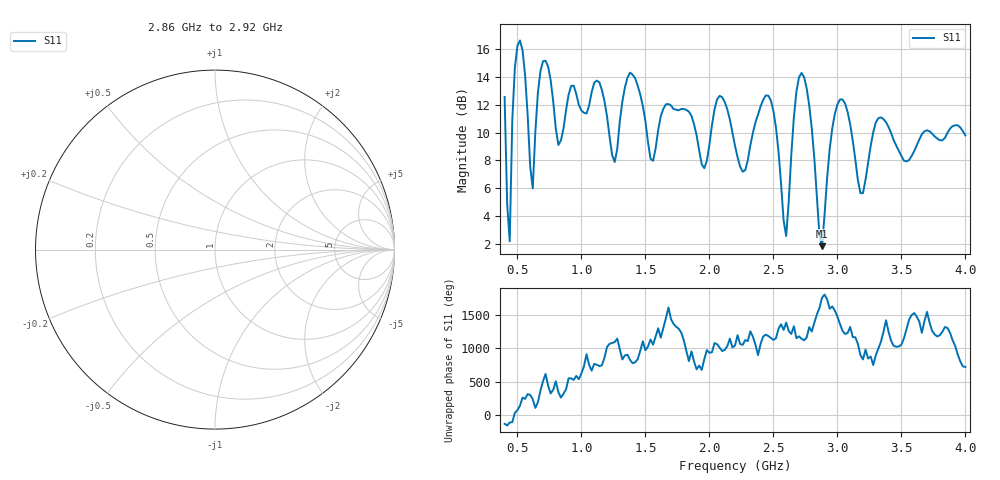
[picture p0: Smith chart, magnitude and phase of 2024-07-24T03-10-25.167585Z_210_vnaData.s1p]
!Created with skrf (http://scikit-rf.org).
# Hz S RI R 50.0
!freq ReS11 ImS11
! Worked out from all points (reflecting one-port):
!   181 points, 400 MHz to 4 GHz, reference 50 ohm
!   lowest |S11| = 1.8 dB at 2.88 GHz (marker M1)
!   phase of S11 starts at -129 deg and turns +850 deg over the sweep
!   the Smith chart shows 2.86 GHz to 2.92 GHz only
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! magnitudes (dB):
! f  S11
! 400 MHz  12.6
! 440 MHz  2.2
! 460 MHz  10.9
! 500 MHz  16.3
! 540 MHz  15.9
! 620 MHz  6.0
! 700 MHz  15.1
! 860 MHz  10.3
! 1.12 GHz  13.7
! 1.26 GHz  7.9
! 1.3 GHz  10.8
! 1.38 GHz  14.3
! 1.54 GHz  8.1
! 1.76 GHz  11.6
! 1.96 GHz  7.4
! 2.08 GHz  12.7
! 2.2 GHz  9.1
! 2.46 GHz  12.7
! 2.6 GHz  2.6
! 2.66 GHz  11.1
! 2.76 GHz  13.2
! 2.88 GHz  1.8
! 2.98 GHz  11.4
! 3.1 GHz  10.6
! 3.18 GHz  5.6
! 3.32 GHz  11.0
! 3.56 GHz  8.0
! 4 GHz  9.8
